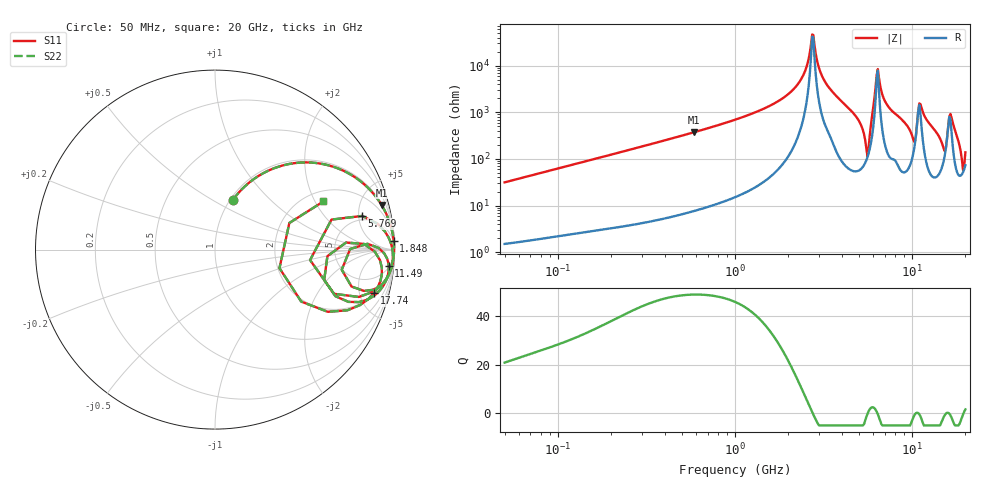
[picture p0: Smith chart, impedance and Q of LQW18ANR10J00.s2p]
!Murata Part Number: LQW18ANR10J00
!These Parameters are Measured in Series Mode Connection
!  o--[Z]--o
!Port1  Port2
!  o-------o
!Freq. Start=50[MHz] Stop=20[GHz], 401[Steps]
# Hz S RI R 50
!Freq.(Hz) S11(Real) S11(Imag) S21(Real) S21(Imag) S12(Real) S12(Imag) S22(Real) S22(Imag)
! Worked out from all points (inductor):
!   401 points, 50 MHz to 20 GHz, reference 50 ohm
!   read as one part in series: L = 99.6 nH near 51.52 MHz
!   highest Q = 48.9 at 583.2 MHz (marker M1), where L = 101 nH
!   self-resonance near 2.728 GHz
!   S11 on the Smith chart (normalised r, x): 50 MHz: 1.03, +0.63; 1.848 GHz: 3, +39; 5.769 GHz: 4.32, +5.56; 11.49 GHz: 6, -20; 17.74 GHz: 2.20, -6.78; 20 GHz: 2.46, +2.35
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5e7  0.1011 0.2784  0.8989 -0.2784  0.8989 -0.2784  0.1011 0.2784
1.364002e8  0.4195 0.4782  0.5805 -0.4782  0.5805 -0.4782  0.4195 0.4782
3.721004e8  0.8375 0.3584  0.1625 -0.3584  0.1625 -0.3584  0.8375 0.3584
5.831961e8  0.9278 0.2488  0.0722 -0.2488  0.0722 -0.2488  0.9278 0.2488
1e9  0.9766 0.1406  0.0234 -0.1406  0.0234 -0.1406  0.9766 0.1406
1.848039e9  0.9955 0.0505  0.0045 -0.0505  0.0045 -0.0505  0.9955 0.0505
2.383959e9  0.9978 0.0182  0.00216 -0.0182  0.00216 -0.0182  0.9978 0.0182
2.728004e9  0.9981 0.000937  0.00193 -0.000937  0.00193 -0.000937  0.9981 0.000937
3.265178e9  0.9967 -0.0237  0.00331 0.0237  0.00331 0.0237  0.9967 -0.0237
5.352748e9  0.8756 -0.2368  0.1244 0.2368  0.1244 0.2368  0.8756 -0.2368
5.598765e9  0.5297 -0.0584  0.4703 0.0584  0.4703 0.0584  0.5297 -0.0584
5.769027e9  0.8202 0.1876  0.1798 -0.1876  0.1798 -0.1876  0.8202 0.1876
6.406762e9  0.9891 -0.00435  0.0109 0.00435  0.0109 0.00435  0.9891 -0.00435
7.442007e9  0.9865 -0.0788  0.0135 0.0788  0.0135 0.0788  0.9865 -0.0788
1.019291e10  0.7608 -0.2058  0.2392 0.2058  0.2392 0.2058  0.7608 -0.2058
1.098561e10  0.9433 -0.0218  0.0567 0.0218  0.0567 0.0218  0.9433 -0.0218
1.149051e10  0.9678 -0.0894  0.0322 0.0894  0.0322 0.0894  0.9678 -0.0894
1.482269e10  0.7436 -0.2913  0.2564 0.2913  0.2564 0.2913  0.7436 -0.2913
1.646126e10  0.9189 -0.0581  0.0811 0.0581  0.0811 0.0581  0.9189 -0.0581
1.774144e10  0.8862 -0.2413  0.1138 0.2413  0.1138 0.2413  0.8862 -0.2413
1.88369e10  0.6286 -0.3465  0.3714 0.3465  0.3714 0.3465  0.6286 -0.3465
2e10  0.6044 0.2685  0.3956 -0.2685  0.3956 -0.2685  0.6044 0.2685
